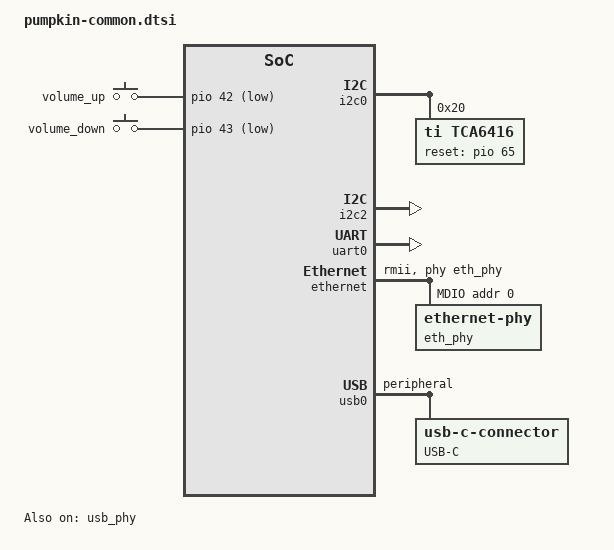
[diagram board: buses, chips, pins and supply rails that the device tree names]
// SPDX-License-Identifier: GPL-2.0
/*
 * Copyright (c) 2019 BayLibre, SAS.
 * Author: Fabien Parent <fparent@baylibre.com>
 */

#include <dt-bindings/gpio/gpio.h>

/ {
	aliases {
		serial0 = &uart0;
		ethernet0 = &ethernet;
	};

	chosen {
		stdout-path = "serial0:921600n8";
	};

	firmware {
		optee: optee@4fd00000 {
			compatible = "linaro,optee-tz";
			method = "smc";
		};
	};

	gpio-keys {
		compatible = "gpio-keys";
		input-name = "gpio-keys";
		pinctrl-names = "default";
		pinctrl-0 = <&gpio_keys_default>;

		volume-up {
			gpios = <&pio 42 GPIO_ACTIVE_LOW>;
			label = "volume_up";
			linux,code = <115>;
			wakeup-source;
			debounce-interval = <15>;
		};

		volume-down {
			gpios = <&pio 43 GPIO_ACTIVE_LOW>;
			label = "volume_down";
			linux,code = <114>;
			wakeup-source;
			debounce-interval = <15>;
		};
	};
};

&i2c0 {
	clock-div = <2>;
	pinctrl-names = "default";
	pinctrl-0 = <&i2c0_pins_a>;
	status = "okay";

	tca6416: gpio@20 {
		compatible = "ti,tca6416";
		reg = <0x20>;
		reset-gpios = <&pio 65 GPIO_ACTIVE_HIGH>;
		pinctrl-names = "default";
		pinctrl-0 = <&tca6416_pins>;

		gpio-controller;
		#gpio-cells = <2>;

		eint20-mux-sel0-hog {
			gpio-hog;
			gpios = <0 0>;
			input;
			line-name = "eint20_mux_sel0";
		};

		expcon-mux-sel1-hog {
			gpio-hog;
			gpios = <1 0>;
			input;
			line-name = "expcon_mux_sel1";
		};

		mrg-di-mux-sel2-hog {
			gpio-hog;
			gpios = <2 0>;
			input;
			line-name = "mrg_di_mux_sel2";
		};

		sd-sdio-mux-sel3-hog {
			gpio-hog;
			gpios = <3 0>;
			input;
			line-name = "sd_sdio_mux_sel3";
		};

		sd-sdio-mux-ctrl7-hog {
			gpio-hog;
			gpios = <7 0>;
			output-low;
			line-name = "sd_sdio_mux_ctrl7";
		};

		hw-id0-hog {
			gpio-hog;
			gpios = <8 0>;
			input;
			line-name = "hw_id0";
		};

		hw-id1-hog {
			gpio-hog;
			gpios = <9 0>;
			input;
			line-name = "hw_id1";
		};

		hw-id2-hog {
			gpio-hog;
			gpios = <10 0>;
			input;
			line-name = "hw_id2";
		};

		fg-int-n-hog {
			gpio-hog;
			gpios = <11 0>;
			input;
			line-name = "fg_int_n";
		};

		usba-pwr-en-hog {
			gpio-hog;
			gpios = <12 0>;
			output-high;
			line-name = "usba_pwr_en";
		};

		wifi-3v3-pg-hog {
			gpio-hog;
			gpios = <13 0>;
			input;
			line-name = "wifi_3v3_pg";
		};

		cam-rst-hog {
			gpio-hog;
			gpios = <14 0>;
			output-low;
			line-name = "cam_rst";
		};

		cam-pwdn-hog {
			gpio-hog;
			gpios = <15 0>;
			output-low;
			line-name = "cam_pwdn";
		};
	};
};

&i2c2 {
	clock-div = <2>;
	pinctrl-names = "default";
	pinctrl-0 = <&i2c2_pins_a>;
	status = "okay";
};

&uart0 {
	status = "okay";
};

&ethernet {
	pinctrl-names = "default";
	pinctrl-0 = <&ethernet_pins_default>;
	phy-handle = <&eth_phy>;
	phy-mode = "rmii";
	mac-address = [00 00 00 00 00 00];
	status = "okay";

	mdio {
		#address-cells = <1>;
		#size-cells = <0>;

		eth_phy: ethernet-phy@0 {
			reg = <0>;
		};
	};
};

&usb0 {
	status = "okay";
	dr_mode = "peripheral";

	usb_con: connector {
		compatible = "usb-c-connector";
		label = "USB-C";
	};
};

&usb_phy {
	status = "okay";
};

&pio {
	gpio_keys_default: gpiodefault {
		pins_cmd_dat {
			pinmux = <MT8516_PIN_42_KPCOL0__FUNC_GPIO42>,
				 <MT8516_PIN_43_KPCOL1__FUNC_GPIO43>;
			bias-pull-up;
			input-enable;
		};
	};

	i2c0_pins_a: i2c0@0 {
		pins1 {
			pinmux = <MT8516_PIN_58_SDA0__FUNC_SDA0_0>,
				 <MT8516_PIN_59_SCL0__FUNC_SCL0_0>;
			bias-disable;
		};
	};

	i2c2_pins_a: i2c2@0 {
		pins1 {
			pinmux = <MT8516_PIN_60_SDA2__FUNC_SDA2_0>,
				 <MT8516_PIN_61_SCL2__FUNC_SCL2_0>;
			bias-disable;
		};
	};

	tca6416_pins: pinmux_tca6416_pins {
		gpio_mux_rst_n_pin {
			pinmux = <MT8516_PIN_65_UTXD1__FUNC_GPIO65>;
			output-high;
		};

		gpio_mux_int_n_pin {
			pinmux = <MT8516_PIN_64_URXD1__FUNC_GPIO64>;
			input-enable;
			bias-pull-up;
		};
	};

	ethernet_pins_default: ethernet {
		pins_ethernet {
			pinmux = <MT8516_PIN_0_EINT0__FUNC_EXT_TXD0>,
				 <MT8516_PIN_1_EINT1__FUNC_EXT_TXD1>,
				 <MT8516_PIN_5_EINT5__FUNC_EXT_RXER>,
				 <MT8516_PIN_6_EINT6__FUNC_EXT_RXC>,
				 <MT8516_PIN_7_EINT7__FUNC_EXT_RXDV>,
				 <MT8516_PIN_8_EINT8__FUNC_EXT_RXD0>,
				 <MT8516_PIN_9_EINT9__FUNC_EXT_RXD1>,
				 <MT8516_PIN_12_EINT12__FUNC_EXT_TXEN>,
				 <MT8516_PIN_38_MRG_DI__FUNC_EXT_MDIO>,
				 <MT8516_PIN_39_MRG_DO__FUNC_EXT_MDC>;
		};
	};
};
